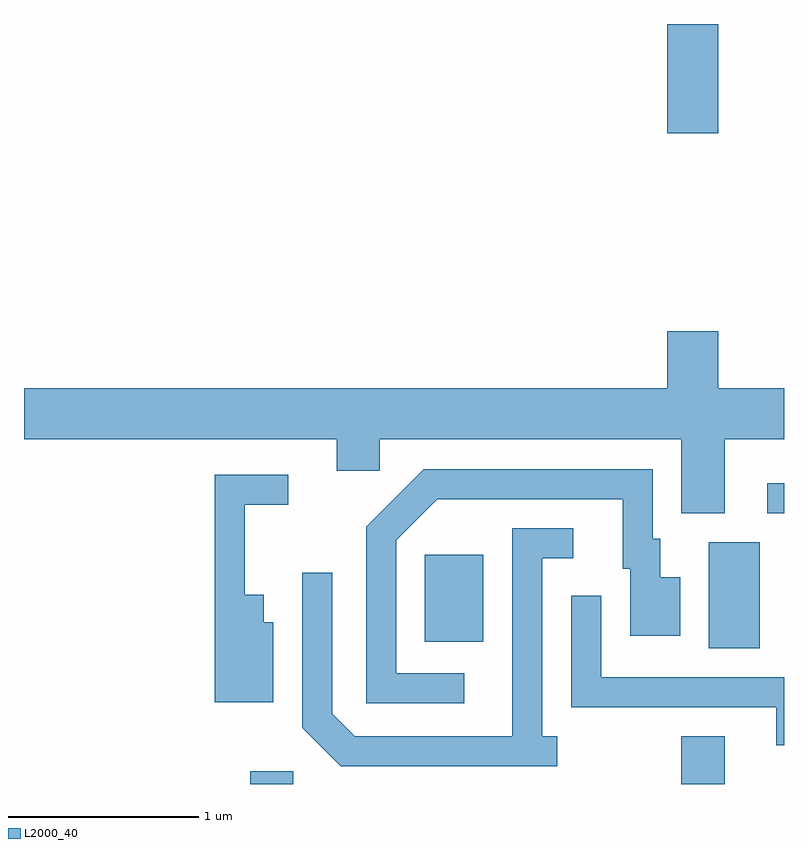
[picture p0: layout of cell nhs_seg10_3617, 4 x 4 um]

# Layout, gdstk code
import gdstk
lib = gdstk.Library(unit=1e-6, precision=1e-09)
def R(c, l, rs):  # rectangles x0, y0, x1, y1
    for r in rs: c.add(gdstk.rectangle(r[:2], r[2:], *l))
def P(c, l, *ps):  # polygons
    for p in ps: c.add(gdstk.Polygon(p, *l))
L2000_40 = (2000, 40)

nhs_seg10_3617 = lib.new_cell('nhs_seg10_3617')
R(nhs_seg10_3617, L2000_40, [(292.801,2136.522,293.029,2136.589), (295.071,2136.522,295.299,2136.774), (295.216,2137.236,295.484,2137.794), (293.721,2137.271,294.029,2137.729), (295.523,2137.946,295.611,2138.104), (294.996,2139.946,295.264,2140.522)])
P(nhs_seg10_3617, L2000_40, [(295.299,2138.336),(295.611,2138.336),(295.611,2138.604),(295.264,2138.604),(295.264,2138.904),(294.996,2138.904),(294.996,2138.604),(291.611,2138.604),(291.611,2138.336),(293.256,2138.336),(293.256,2138.171),(293.484,2138.171),(293.484,2138.336),(295.071,2138.336),(295.071,2137.946),(295.299,2137.946)],
  [(293.928,2137.104),(293.569,2137.104),(293.569,2137.804),(293.787,2138.021),(294.761,2138.021),(294.761,2137.656),(294.801,2137.656),(294.801,2137.301),(295.064,2137.301),(295.064,2137.609),(294.959,2137.609),(294.959,2137.814),(294.919,2137.814),(294.919,2138.179),(293.714,2138.179),(293.411,2137.877),(293.411,2136.946),(293.928,2136.946)],
  [(292.924,2137.374),(292.874,2137.374),(292.874,2137.519),(292.774,2137.519),(292.774,2137.991),(293.003,2137.991),(293.003,2138.149),(292.616,2138.149),(292.616,2136.951),(292.924,2136.951)],
  [(294.418,2136.774),(294.339,2136.774),(294.339,2137.711),(294.503,2137.711),(294.503,2137.869),(294.181,2137.869),(294.181,2136.774),(293.352,2136.774),(293.234,2136.892),(293.234,2137.633),(293.076,2137.633),(293.076,2136.819),(293.279,2136.616),(294.418,2136.616)],
  [(295.611,2137.084),(294.649,2137.084),(294.649,2137.513),(294.491,2137.513),(294.491,2136.926),(295.571,2136.926),(295.571,2136.726),(295.611,2136.726)])

lib.write_gds('nhs_seg10_3617.gds')
